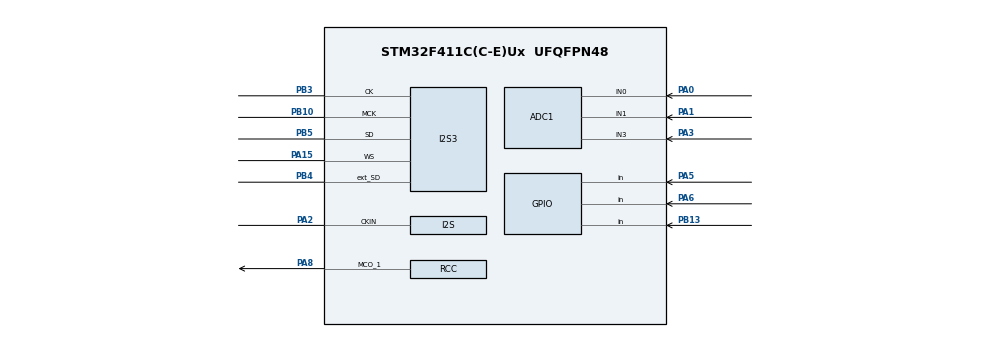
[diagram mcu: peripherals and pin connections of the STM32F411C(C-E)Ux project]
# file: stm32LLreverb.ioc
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ADC1.Channel-5\#ChannelRegularConversion=ADC_CHANNEL_0
ADC1.Channel-6\#ChannelRegularConversion=ADC_CHANNEL_1
ADC1.Channel-7\#ChannelRegularConversion=ADC_CHANNEL_3
ADC1.ClockPrescaler=ADC_CLOCK_SYNC_PCLK_DIV8
ADC1.ContinuousConvMode=ENABLE
ADC1.DMAContinuousRequests=ENABLE
ADC1.NbrOfConversion=3
ADC1.NbrOfConversionFlag=1
ADC1.Rank-5\#ChannelRegularConversion=1
ADC1.Rank-6\#ChannelRegularConversion=2
ADC1.Rank-7\#ChannelRegularConversion=3
ADC1.SamplingTime-5\#ChannelRegularConversion=ADC_SAMPLETIME_480CYCLES
ADC1.SamplingTime-6\#ChannelRegularConversion=ADC_SAMPLETIME_480CYCLES
ADC1.SamplingTime-7\#ChannelRegularConversion=ADC_SAMPLETIME_480CYCLES
ADC1.ScanConvMode=ENABLE
ADC1.master=1
Dma.ADC1.2.Direction=DMA_PERIPH_TO_MEMORY
Dma.ADC1.2.FIFOMode=DMA_FIFOMODE_DISABLE
Dma.ADC1.2.Instance=DMA2_Stream0
Dma.ADC1.2.MemDataAlignment=DMA_MDATAALIGN_HALFWORD
Dma.ADC1.2.MemInc=DMA_MINC_ENABLE
Dma.ADC1.2.Mode=DMA_CIRCULAR
Dma.ADC1.2.PeriphDataAlignment=DMA_PDATAALIGN_HALFWORD
Dma.ADC1.2.PeriphInc=DMA_PINC_DISABLE
Dma.ADC1.2.Priority=DMA_PRIORITY_LOW
Dma.I2S3_EXT_RX.0.Direction=DMA_PERIPH_TO_MEMORY
Dma.I2S3_EXT_RX.0.FIFOMode=DMA_FIFOMODE_DISABLE
Dma.I2S3_EXT_RX.0.Instance=DMA1_Stream0
Dma.I2S3_EXT_RX.0.MemDataAlignment=DMA_MDATAALIGN_HALFWORD
Dma.I2S3_EXT_RX.0.MemInc=DMA_MINC_ENABLE
Dma.I2S3_EXT_RX.0.Mode=DMA_CIRCULAR
Dma.I2S3_EXT_RX.0.PeriphDataAlignment=DMA_PDATAALIGN_HALFWORD
Dma.I2S3_EXT_RX.0.PeriphInc=DMA_PINC_DISABLE
Dma.I2S3_EXT_RX.0.Priority=DMA_PRIORITY_LOW
Dma.Request0=I2S3_EXT_RX
Dma.Request1=SPI3_TX
Dma.Request2=ADC1
Dma.SPI3_TX.1.Direction=DMA_MEMORY_TO_PERIPH
Dma.SPI3_TX.1.FIFOMode=DMA_FIFOMODE_DISABLE
Dma.SPI3_TX.1.Instance=DMA1_Stream5
Dma.SPI3_TX.1.MemDataAlignment=DMA_MDATAALIGN_HALFWORD
Dma.SPI3_TX.1.MemInc=DMA_MINC_ENABLE
Dma.SPI3_TX.1.Mode=DMA_CIRCULAR
Dma.SPI3_TX.1.PeriphDataAlignment=DMA_PDATAALIGN_HALFWORD
Dma.SPI3_TX.1.PeriphInc=DMA_PINC_DISABLE
Dma.SPI3_TX.1.Priority=DMA_PRIORITY_LOW
I2S3.AudioFreq=I2S_AUDIOFREQ_48K
I2S3.CPOL=I2S_CPOL_LOW
I2S3.DataFormat=I2S_DATAFORMAT_24B
I2S3.ErrorAudioFreq=-0.01 %
I2S3.FullDuplexMode=I2S_FULLDUPLEXMODE_ENABLE
I2S3.Instance=SPI$Index
I2S3.RealAudioFreq=47.991 KHz
I2S3.Standard=I2S_STANDARD_PHILIPS
I2S3.VirtualMode=I2S_MODE_MASTER
Mcu.Family=STM32F4
Mcu.Name=STM32F411C(C-E)Ux
Mcu.Package=UFQFPN48
NVIC.DMA1_Stream0_IRQn=true\:0\:0\:false\:false\:true\:false\:true\:true
NVIC.DMA1_Stream5_IRQn=true\:0\:0\:false\:false\:true\:false\:true\:true
NVIC.DMA2_Stream0_IRQn=true\:0\:0\:false\:false\:true\:false\:true\:true
NVIC.PriorityGroup=NVIC_PRIORITYGROUP_4
PA0-WKUP.Signal=ADCx_IN0
PA1.Signal=ADCx_IN1
PA13.Mode=Serial_Wire
PA13.Signal=SYS_JTMS-SWDIO
PA14.Mode=Serial_Wire
PA14.Signal=SYS_JTCK-SWCLK
PA15.GPIO_Speed=GPIO_SPEED_FREQ_LOW
PA15.Mode=Full_Duplex_Master
PA15.Signal=I2S3_WS
PA2.Mode=Audio_ClockIn
PA2.Signal=I2S_CKIN
PA3.Signal=ADCx_IN3
PA5.Signal=GPIO_Input
PA6.Signal=GPIO_Input
PA8.Mode=Clock-out-1
PA8.Signal=RCC_MCO_1
PB10.GPIO_Speed=GPIO_SPEED_FREQ_LOW
PB10.Mode=Master_Clock_Activated
PB10.Signal=I2S3_MCK
PB13.Signal=GPIO_Input
PB3.GPIO_Speed=GPIO_SPEED_FREQ_LOW
PB3.Mode=Full_Duplex_Master
PB3.Signal=I2S3_CK
PB4.GPIO_Speed=GPIO_SPEED_FREQ_LOW
PB4.Mode=Full_Duplex_Master
PB4.Signal=I2S3_ext_SD
PB5.GPIO_Speed=GPIO_SPEED_FREQ_LOW
PB5.Mode=Full_Duplex_Master
PB5.Signal=I2S3_SD
PH0\ -\ OSC_IN.Mode=HSE-External-Oscillator
PH0\ -\ OSC_IN.Signal=RCC_OSC_IN
PH1\ -\ OSC_OUT.Mode=HSE-External-Oscillator
PH1\ -\ OSC_OUT.Signal=RCC_OSC_OUT
ProjectManager.HeapSize=0x200
ProjectManager.StackSize=0x400
ProjectManager.TargetToolchain=CMake
RCC.48MHZClocksFreq_Value=50000000
RCC.AHBFreq_Value=100000000
RCC.APB1CLKDivider=RCC_HCLK_DIV2
RCC.APB1Freq_Value=50000000
RCC.APB1TimFreq_Value=100000000
RCC.APB2Freq_Value=100000000
RCC.APB2TimFreq_Value=100000000
RCC.CortexFreq_Value=100000000
RCC.EnbaleCSS=true
RCC.HCLKFreq_Value=100000000
RCC.HSE_VALUE=25000000
RCC.HSI_VALUE=16000000
RCC.LSE_VALUE=32768
RCC.PLLI2SM=25
RCC.PLLI2SN=258
RCC.PLLI2SR=3
RCC.PLLM=25
RCC.PLLN=200
RCC.PLLSourceVirtual=RCC_PLLSOURCE_HSE
RCC.SYSCLKFreq_VALUE=100000000
RCC.SYSCLKSource=RCC_SYSCLKSOURCE_PLLCLK
RCC.VCOOutputFreq_Value=200000000
SH.ADCx_IN0.0=ADC1_IN0,IN0
SH.ADCx_IN1.0=ADC1_IN1,IN1
SH.ADCx_IN3.0=ADC1_IN3,IN3
board=custom

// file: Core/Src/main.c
/* USER CODE BEGIN Header */
/**
  ******************************************************************************
  * @file           : main.c
  * @brief          : Main program body
  ******************************************************************************
  */
/* USER CODE END Header */
#include "main.h"

/* USER CODE BEGIN Includes */
#include "stm32f4xx_ll_bus.h"
#include "stm32f4xx_ll_gpio.h"
#include "stm32f4xx_ll_dma.h"
#include "stm32f4xx_ll_spi.h"

#include "reverb_dsp.h"
/* USER CODE END Includes */

ADC_HandleTypeDef hadc1;
DMA_HandleTypeDef hdma_adc1;

I2S_HandleTypeDef hi2s3;
DMA_HandleTypeDef hdma_i2s3_ext_rx;
DMA_HandleTypeDef hdma_spi3_tx;

/* USER CODE BEGIN PV */
int32_t dc_offset_filter = 0;

// --- Стан системи ---
volatile uint8_t alg_mode = 1;       // 1 = Plate, 0 = Hall
volatile uint8_t shimmer_active = 0; // 1 = Shimmer ON

// --- Plate buffers ---
int16_t p_diff_bufs[4][300];
int16_t p_tank_ap_buf[600];
int16_t p_main_delay_buf[15000];

// --- Hall buffers ---
int16_t h_pre_delay_buf[2400];
int16_t h_comb_bufs[8][2000];
const uint16_t h_comb_sizes[8] = {1557, 1617, 1491, 1422, 1277, 1356, 1188, 1116};
int16_t h_ap_bufs[4][600];
const uint16_t h_ap_sizes[4] = {225, 556, 441, 341};

// --- Reverberators structures ---
Plate_Reverb myPlate;
Hall_Reverb  myHall;

// ADC and audio buffers
volatile uint16_t adc_values[3];
uint32_t mix_val = 0, decay_val = 0, tone_val = 0;
#define AUDIO_BUF_SIZE 512
uint16_t rx_buf[AUDIO_BUF_SIZE];
uint16_t tx_buf[AUDIO_BUF_SIZE];
/* USER CODE END PV */

void SystemClock_Config(void);
void PeriphCommonClock_Config(void);
static void MX_GPIO_Init(void);
static void MX_DMA_Init(void);
static void MX_I2S3_Init(void);
static void MX_ADC1_Init(void);

/* USER CODE BEGIN 0 */

void Read_Pots_And_Smooth(void) {

  uint32_t raw_decay = adc_values[0]; // Decay
  uint32_t raw_mix   = adc_values[1]; // Mix
  uint32_t raw_tone  = adc_values[2]; // Tone

  // Dead zones
  if (raw_mix < 50) raw_mix = 0;
  else if (raw_mix > 4040) raw_mix = 4095;

  if (raw_decay < 50) raw_decay = 0;
  else if (raw_decay > 4040) raw_decay = 4095;

  if (raw_tone < 50) raw_tone = 0;
  else if (raw_tone > 4040) raw_tone = 4095;

  // Smoothing values
  mix_val   = ((mix_val   * 15) + raw_mix) >> 4;
  decay_val = ((decay_val * 15) + raw_decay) >> 4;
  tone_val  = ((tone_val  * 15) + raw_tone) >> 4;
}

void Update_Physical_Controls(void) {
    static uint32_t last_check_time = 0;
    if (HAL_GetTick() - last_check_time > 20) {
        // PA6 - plate/hall, PA5 - shimmer on/off
        alg_mode = LL_GPIO_IsInputPinSet(GPIOA, LL_GPIO_PIN_6);
        //alg_mode = 1;

        // For some reason shimmer has artifacts when it is activated on HIGH
        shimmer_active = !LL_GPIO_IsInputPinSet(GPIOA, LL_GPIO_PIN_5);

        last_check_time = HAL_GetTick();
    }
}

// Only left channel is processed and copied to both channels
void Process_Audio_Block(uint32_t start_idx, uint32_t end_idx) {

  int16_t wet_out = 0;

  int16_t current_mix  = (int16_t)((mix_val   * 32767) >> 12);
  int16_t current_fb = (int16_t)((decay_val * 32600) >> 12);
  int16_t current_damp = (int16_t)((tone_val  * 32767) >> 12);

  // Hall struct update
  myHall.damping_filter.damping = 32767 - current_damp;
  for(int k=0; k<8; k++) myHall.combs[k].feedback = current_fb;
  // Plate
  myPlate.damping_filter.damping = 32767 - current_damp;
  myPlate.decay = current_fb;

  for (uint32_t i = start_idx; i < end_idx; i += 4) {
    int16_t dry_mono = (int16_t)rx_buf[i];

    // Input attenuation
    int16_t input_to_reverb = dry_mono / 4;

    // Algorithm select
    if (alg_mode == 1) {
            wet_out = Plate_Process(&myPlate, input_to_reverb, shimmer_active);
        } else {
            wet_out = Hall_Process(&myHall, input_to_reverb, shimmer_active);
        }

    int32_t wet_compensated = (int32_t)wet_out * 3;

    // Mix
    int32_t final_out = (((int32_t)dry_mono * (32767 - current_mix)) >> 15) +
                        ((wet_compensated * current_mix) >> 15);

    // Limiter
    if (final_out > 32767) final_out = 32767;
    if (final_out < -32768) final_out = -32768;

    // Output dual mono
    tx_buf[i]   = (uint16_t)final_out;
    tx_buf[i+1] = rx_buf[i+1];
    tx_buf[i+2] = (uint16_t)final_out;
    tx_buf[i+3] = rx_buf[i+3];
    }
}
/* USER CODE END 0 */

int main(void)
{

  /* MCU Configuration--------------------------------------------------------*/

  /* Reset of all peripherals, Initializes the Flash interface and the Systick. */
  HAL_Init();

  /* Configure the system clock */
  SystemClock_Config();

  /* Configure the peripherals common clocks */
  PeriphCommonClock_Config();

  /* Initialize all configured peripherals */
  MX_GPIO_Init();
  MX_DMA_Init();
  MX_I2S3_Init();
  MX_ADC1_Init();
  /* USER CODE BEGIN 2 */
  // --- Plate init ---
  for(int i=0; i<4; i++) Delay_Filter_Init(&myPlate.diffuser[i], p_diff_bufs[i], 300-(i*40), 16384);
  Delay_Filter_Init(&myPlate.tank_ap, p_tank_ap_buf, 600, 18000);
  Delay_Line_Init(&myPlate.main_delay, p_main_delay_buf, 15000);
  LPF_Init(&myPlate.damping_filter, 16000);

  // --- Hall init ---
  Delay_Line_Init(&myHall.pre_delay, h_pre_delay_buf, 1440);
  for(int i=0; i<8; i++) Delay_Filter_Init(&myHall.combs[i], h_comb_bufs[i], h_comb_sizes[i], 28000);
  for(int i=0; i<4; i++) Delay_Filter_Init(&myHall.allpasses[i], h_ap_bufs[i], h_ap_sizes[i], 18000);
  LPF_Init(&myHall.damping_filter, 12000);

  // Start ADC
  HAL_ADC_Start_DMA(&hadc1, (uint32_t*)adc_values, 3);
  HAL_NVIC_DisableIRQ(DMA2_Stream0_IRQn); // Disabling ADC interrupt

  LL_APB1_GRP1_EnableClock(LL_APB1_GRP1_PERIPH_SPI3);
  HAL_NVIC_DisableIRQ(DMA1_Stream0_IRQn);
  HAL_NVIC_DisableIRQ(DMA1_Stream5_IRQn);

  LL_I2S_Disable(SPI3);
  LL_I2S_Disable(I2S3ext);

  LL_DMA_SetDataLength(DMA1, LL_DMA_STREAM_0, AUDIO_BUF_SIZE);
  LL_DMA_ConfigAddresses(DMA1, LL_DMA_STREAM_0, (uint32_t)&I2S3ext->DR, (uint32_t)rx_buf, LL_DMA_DIRECTION_PERIPH_TO_MEMORY);
  LL_DMA_SetDataLength(DMA1, LL_DMA_STREAM_5, AUDIO_BUF_SIZE);
  LL_DMA_ConfigAddresses(DMA1, LL_DMA_STREAM_5, (uint32_t)tx_buf, (uint32_t)&SPI3->DR, LL_DMA_DIRECTION_MEMORY_TO_PERIPH);

  LL_I2S_EnableDMAReq_RX(I2S3ext);
  LL_I2S_EnableDMAReq_TX(SPI3);
  LL_DMA_EnableStream(DMA1, LL_DMA_STREAM_0);
  LL_DMA_EnableStream(DMA1, LL_DMA_STREAM_5);
  LL_I2S_Enable(I2S3ext);
  LL_I2S_Enable(SPI3);
  /* USER CODE END 2 */

  /* Infinite loop */
  /* USER CODE BEGIN WHILE */
  while (1)
  {
    if (LL_DMA_IsActiveFlag_HT0(DMA1))
    {
        LL_DMA_ClearFlag_HT0(DMA1);

        Update_Physical_Controls();
        Read_Pots_And_Smooth();
        Process_Audio_Block(0, AUDIO_BUF_SIZE / 2);
    }

    if (LL_DMA_IsActiveFlag_TC0(DMA1))
    {
        LL_DMA_ClearFlag_TC0(DMA1);
        Read_Pots_And_Smooth();
        Process_Audio_Block(AUDIO_BUF_SIZE / 2, AUDIO_BUF_SIZE);
    }
    /* USER CODE END WHILE */

  }
}

void SystemClock_Config(void)
{
  LL_FLASH_SetLatency(LL_FLASH_LATENCY_3);
  while(LL_FLASH_GetLatency()!= LL_FLASH_LATENCY_3)
  {
  }
  LL_PWR_SetRegulVoltageScaling(LL_PWR_REGU_VOLTAGE_SCALE1);
  LL_RCC_HSE_Enable();

   /* Wait till HSE is ready */
  while(LL_RCC_HSE_IsReady() != 1)
  {

  }
  LL_RCC_HSI_SetCalibTrimming(16);
  LL_RCC_HSI_Enable();

   /* Wait till HSI is ready */
  while(LL_RCC_HSI_IsReady() != 1)
  {

  }
  LL_RCC_HSE_EnableCSS();
  LL_RCC_PLL_ConfigDomain_SYS(LL_RCC_PLLSOURCE_HSE, LL_RCC_PLLM_DIV_25, 200, LL_RCC_PLLP_DIV_2);
  LL_RCC_PLL_Enable();

   /* Wait till PLL is ready */
  while(LL_RCC_PLL_IsReady() != 1)
  {

  }
  while (LL_PWR_IsActiveFlag_VOS() == 0)
  {
  }
  LL_RCC_SetAHBPrescaler(LL_RCC_SYSCLK_DIV_1);
  LL_RCC_SetAPB1Prescaler(LL_RCC_APB1_DIV_2);
  LL_RCC_SetAPB2Prescaler(LL_RCC_APB2_DIV_1);
  LL_RCC_SetSysClkSource(LL_RCC_SYS_CLKSOURCE_PLL);

   /* Wait till System clock is ready */
  while(LL_RCC_GetSysClkSource() != LL_RCC_SYS_CLKSOURCE_STATUS_PLL)
  {

  }
  LL_SetSystemCoreClock(100000000);

   /* Update the time base */
  if (HAL_InitTick (TICK_INT_PRIORITY) != HAL_OK)
  {
    Error_Handler();
  }
  LL_RCC_ConfigMCO(LL_RCC_MCO1SOURCE_HSI, LL_RCC_MCO1_DIV_1);
  LL_RCC_SetTIMPrescaler(LL_RCC_TIM_PRESCALER_TWICE);
}

void PeriphCommonClock_Config(void)
{
  LL_RCC_PLLI2S_ConfigDomain_I2S(LL_RCC_PLLSOURCE_HSE, LL_RCC_PLLI2SM_DIV_25, 258, LL_RCC_PLLI2SR_DIV_3);
  LL_RCC_PLLI2S_Enable();

   /* Wait till PLL is ready */
  while(LL_RCC_PLLI2S_IsReady() != 1)
  {

  }
}

static void MX_ADC1_Init(void)
{

  ADC_ChannelConfTypeDef sConfig = {0};

  /** Configure the global features of the ADC (Clock, Resolution, Data Alignment and number of conversion)
  */
  hadc1.Instance = ADC1;
  hadc1.Init.ClockPrescaler = ADC_CLOCK_SYNC_PCLK_DIV8;
  hadc1.Init.Resolution = ADC_RESOLUTION_12B;
  hadc1.Init.ScanConvMode = ENABLE;
  hadc1.Init.ContinuousConvMode = ENABLE;
  hadc1.Init.DiscontinuousConvMode = DISABLE;
  hadc1.Init.ExternalTrigConvEdge = ADC_EXTERNALTRIGCONVEDGE_NONE;
  hadc1.Init.ExternalTrigConv = ADC_SOFTWARE_START;
  hadc1.Init.DataAlign = ADC_DATAALIGN_RIGHT;
  hadc1.Init.NbrOfConversion = 3;
  hadc1.Init.DMAContinuousRequests = ENABLE;
  hadc1.Init.EOCSelection = ADC_EOC_SINGLE_CONV;
  if (HAL_ADC_Init(&hadc1) != HAL_OK)
  {
    Error_Handler();
  }

  /** Configure for the selected ADC regular channel its corresponding rank in the sequencer and its sample time.
  */
  sConfig.Channel = ADC_CHANNEL_0;
  sConfig.Rank = 1;
  sConfig.SamplingTime = ADC_SAMPLETIME_480CYCLES;
  if (HAL_ADC_ConfigChannel(&hadc1, &sConfig) != HAL_OK)
  {
    Error_Handler();
  }

  /** Configure for the selected ADC regular channel its corresponding rank in the sequencer and its sample time.
  */
  sConfig.Channel = ADC_CHANNEL_1;
  sConfig.Rank = 2;
  if (HAL_ADC_ConfigChannel(&hadc1, &sConfig) != HAL_OK)
  {
    Error_Handler();
  }

  /** Configure for the selected ADC regular channel its corresponding rank in the sequencer and its sample time.
  */
  sConfig.Channel = ADC_CHANNEL_3;
  sConfig.Rank = 3;
  if (HAL_ADC_ConfigChannel(&hadc1, &sConfig) != HAL_OK)
  {
    Error_Handler();
  }

}

static void MX_I2S3_Init(void)
{

  hi2s3.Instance = SPI3;
  hi2s3.Init.Mode = I2S_MODE_MASTER_TX;
  hi2s3.Init.Standard = I2S_STANDARD_PHILIPS;
  hi2s3.Init.DataFormat = I2S_DATAFORMAT_24B;
  hi2s3.Init.MCLKOutput = I2S_MCLKOUTPUT_ENABLE;
  hi2s3.Init.AudioFreq = I2S_AUDIOFREQ_48K;
  hi2s3.Init.CPOL = I2S_CPOL_LOW;
  hi2s3.Init.ClockSource = I2S_CLOCK_PLL;
  hi2s3.Init.FullDuplexMode = I2S_FULLDUPLEXMODE_ENABLE;
  if (HAL_I2S_Init(&hi2s3) != HAL_OK)
  {
    Error_Handler();
  }

}

static void MX_DMA_Init(void)
{

  /* Init with LL driver */
  /* DMA controller clock enable */
  LL_AHB1_GRP1_EnableClock(LL_AHB1_GRP1_PERIPH_DMA1);
  LL_AHB1_GRP1_EnableClock(LL_AHB1_GRP1_PERIPH_DMA2);

  /* DMA interrupt init */
  /* DMA1_Stream0_IRQn interrupt configuration */
  HAL_NVIC_SetPriority(DMA1_Stream0_IRQn, 0, 0);
  HAL_NVIC_EnableIRQ(DMA1_Stream0_IRQn);
  /* DMA1_Stream5_IRQn interrupt configuration */
  HAL_NVIC_SetPriority(DMA1_Stream5_IRQn, 0, 0);
  HAL_NVIC_EnableIRQ(DMA1_Stream5_IRQn);
  /* DMA2_Stream0_IRQn interrupt configuration */
  HAL_NVIC_SetPriority(DMA2_Stream0_IRQn, 0, 0);
  HAL_NVIC_EnableIRQ(DMA2_Stream0_IRQn);

}

static void MX_GPIO_Init(void)
{
  LL_GPIO_InitTypeDef GPIO_InitStruct = {0};

  /* GPIO Ports Clock Enable */
  LL_AHB1_GRP1_EnableClock(LL_AHB1_GRP1_PERIPH_GPIOH);
  LL_AHB1_GRP1_EnableClock(LL_AHB1_GRP1_PERIPH_GPIOA);
  LL_AHB1_GRP1_EnableClock(LL_AHB1_GRP1_PERIPH_GPIOB);

  /**/
  GPIO_InitStruct.Pin = LL_GPIO_PIN_2;
  GPIO_InitStruct.Mode = LL_GPIO_MODE_ALTERNATE;
  GPIO_InitStruct.Speed = LL_GPIO_SPEED_FREQ_LOW;
  GPIO_InitStruct.OutputType = LL_GPIO_OUTPUT_PUSHPULL;
  GPIO_InitStruct.Pull = LL_GPIO_PULL_NO;
  GPIO_InitStruct.Alternate = LL_GPIO_AF_5;
  LL_GPIO_Init(GPIOA, &GPIO_InitStruct);

  /**/
  GPIO_InitStruct.Pin = LL_GPIO_PIN_5|LL_GPIO_PIN_6;
  GPIO_InitStruct.Mode = LL_GPIO_MODE_INPUT;
  GPIO_InitStruct.Pull = LL_GPIO_PULL_DOWN;
  LL_GPIO_Init(GPIOA, &GPIO_InitStruct);

  /**/
  GPIO_InitStruct.Pin = LL_GPIO_PIN_13;
  GPIO_InitStruct.Mode = LL_GPIO_MODE_INPUT;
  GPIO_InitStruct.Pull = LL_GPIO_PULL_NO;
  LL_GPIO_Init(GPIOB, &GPIO_InitStruct);

  /**/
  GPIO_InitStruct.Pin = LL_GPIO_PIN_8;
  GPIO_InitStruct.Mode = LL_GPIO_MODE_ALTERNATE;
  GPIO_InitStruct.Speed = LL_GPIO_SPEED_FREQ_LOW;
  GPIO_InitStruct.OutputType = LL_GPIO_OUTPUT_PUSHPULL;
  GPIO_InitStruct.Pull = LL_GPIO_PULL_NO;
  GPIO_InitStruct.Alternate = LL_GPIO_AF_0;
  LL_GPIO_Init(GPIOA, &GPIO_InitStruct);

  /* USER CODE BEGIN MX_GPIO_Init_2 */

  LL_AHB1_GRP1_EnableClock(LL_AHB1_GRP1_PERIPH_GPIOC);
  LL_GPIO_SetPinMode(GPIOC, LL_GPIO_PIN_13, LL_GPIO_MODE_OUTPUT);
  LL_GPIO_SetPinSpeed(GPIOC, LL_GPIO_PIN_13, LL_GPIO_SPEED_FREQ_LOW);
  LL_GPIO_SetPinOutputType(GPIOC, LL_GPIO_PIN_13, LL_GPIO_OUTPUT_PUSHPULL);

  /* USER CODE END MX_GPIO_Init_2 */
}

void Error_Handler(void)
{
  __disable_irq();
  while (1)
  {
  }
}
